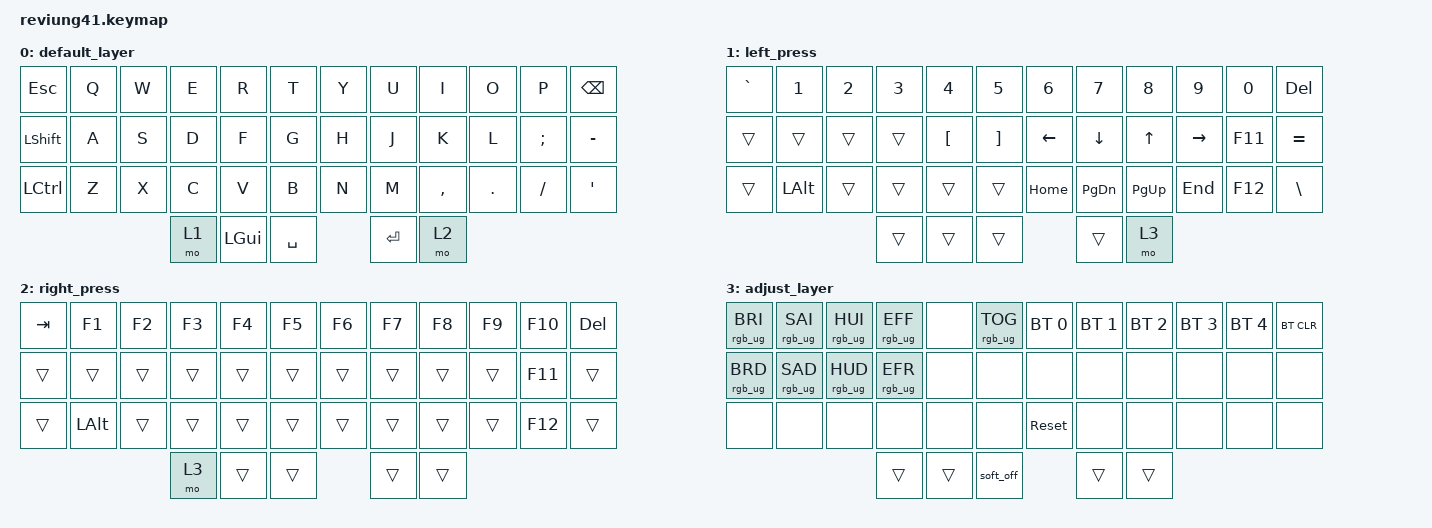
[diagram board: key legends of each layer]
/*
 * Copyright (c) 2020 The ZMK Contributors
 *
 * SPDX-License-Identifier: MIT
 */

#include <behaviors.dtsi>
#include <dt-bindings/zmk/bt.h>
#include <dt-bindings/zmk/keys.h>
#include <dt-bindings/zmk/rgb.h>

/ {
    keymap {
        compatible = "zmk,keymap";

        default_layer {
            bindings = <
&kp ESC           &kp Q  &kp W  &kp E  &kp R         &kp T             &kp Y  &kp U      &kp I      &kp O    &kp P     &kp BSPC
&kp LEFT_SHIFT    &kp A  &kp S  &kp D  &kp F         &kp G             &kp H  &kp J      &kp K      &kp L    &kp SEMI  &kp MINUS
&kp LEFT_CONTROL  &kp Z  &kp X  &kp C  &kp V         &kp B             &kp N  &kp M      &kp COMMA  &kp DOT  &kp FSLH  &kp SINGLE_QUOTE
                                &mo 1  &kp LEFT_GUI         &kp SPACE         &kp ENTER  &mo 2
            >;
        };

        left_press {
            // ------------------------------------------------------------------------------------
            // |    |  !  |  @  |  #  |  $  |  %  |   |  ^  |  &  |  *  |  (  |  )  |      DEL    |
            // |    |  _  |  +  |  {  |  }  | "|" |   | LFT | DWN |  UP | RGT |  `  |       ~     |
            // |    | ESC | GUI | ALT | CAPS|  "  |   | HOME| END | PGUP| PGDN| PRSC| SHFT(SPACE) |
            //                       |     |     | RET | ADJ |     |

            bindings = <
&kp GRAVE  &kp NUMBER_1  &kp NUMBER_2  &kp NUMBER_3  &kp NUMBER_4      &kp NUMBER_5               &kp NUMBER_6  &kp NUMBER_7  &kp NUMBER_8  &kp NUMBER_9  &kp NUMBER_0  &kp DEL
&trans     &trans        &trans        &trans        &kp LEFT_BRACKET  &kp RIGHT_BRACKET          &kp LEFT      &kp DOWN      &kp UP        &kp RIGHT     &kp F11       &kp EQUAL
&trans     &kp LEFT_ALT  &trans        &trans        &trans            &trans                     &kp HOME      &kp PG_DN     &kp PG_UP     &kp END       &kp F12       &kp BACKSLASH
                                       &trans        &trans                               &trans                &trans        &mo 3
            >;
        };

        right_press {
            // ----------------------------------------------------------------------------
            // |    |  1  |  2  |  3  |  4  |  5  |   |  6  |  7  |  8  |  9  |  0  | DEL |
            // |    |  -  |  =  |  [  |  ]  |  \  |   | F1  | F2  | F3  | F4  | F5  | F6  |
            // |    | ESC | GUI | ALT | CAPS|  "  |   | F7  | F8  | F9  | F10 | F11 | F12 |
            //                       |     | ADJ | BSPC |    |     |

            bindings = <
&kp TAB  &kp F1        &kp F2  &kp F3  &kp F4  &kp F5          &kp F6  &kp F7  &kp F8  &kp F9  &kp F10  &kp DEL
&trans   &trans        &trans  &trans  &trans  &trans          &trans  &trans  &trans  &trans  &kp F11  &trans
&trans   &kp LEFT_ALT  &trans  &trans  &trans  &trans          &trans  &trans  &trans  &trans  &kp F12  &trans
                               &mo 3   &trans          &trans          &trans  &trans
            >;
        };

        adjust_layer {
            // -----------------------------------------------------------------------------------------
            // | RGB BRI+ | RGB SAT+ | RGB HUE+ | RGB ANI+ |    | RGB TOG |   |  BT1  | BT2 | BT3 | BT4 | BT5 | BT CLR |
            // | RGB BRI- | RGB SAT- | RGB HUE- | RGB ANI- |    |         |   |       |     |     |     |     |        |
            // |          |          |          |          |    |         |   | RESET |     |     |     |     |        |
            //                                              |     |     |     |     |     |

            bindings = <
&rgb_ug RGB_BRI  &rgb_ug RGB_SAI  &rgb_ug RGB_HUI  &rgb_ug RGB_EFF  &none   &rgb_ug RGB_TOG             &bt BT_SEL 0  &bt BT_SEL 1  &bt BT_SEL 2  &bt BT_SEL 3  &bt BT_SEL 4  &bt BT_CLR
&rgb_ug RGB_BRD  &rgb_ug RGB_SAD  &rgb_ug RGB_HUD  &rgb_ug RGB_EFR  &none   &none                       &none         &none         &none         &none         &none         &none
&none            &none            &none            &none            &none   &none                       &sys_reset    &none         &none         &none         &none         &none
                                                   &trans           &trans                   &soft_off                &trans        &trans
            >;
        };
    };
};
